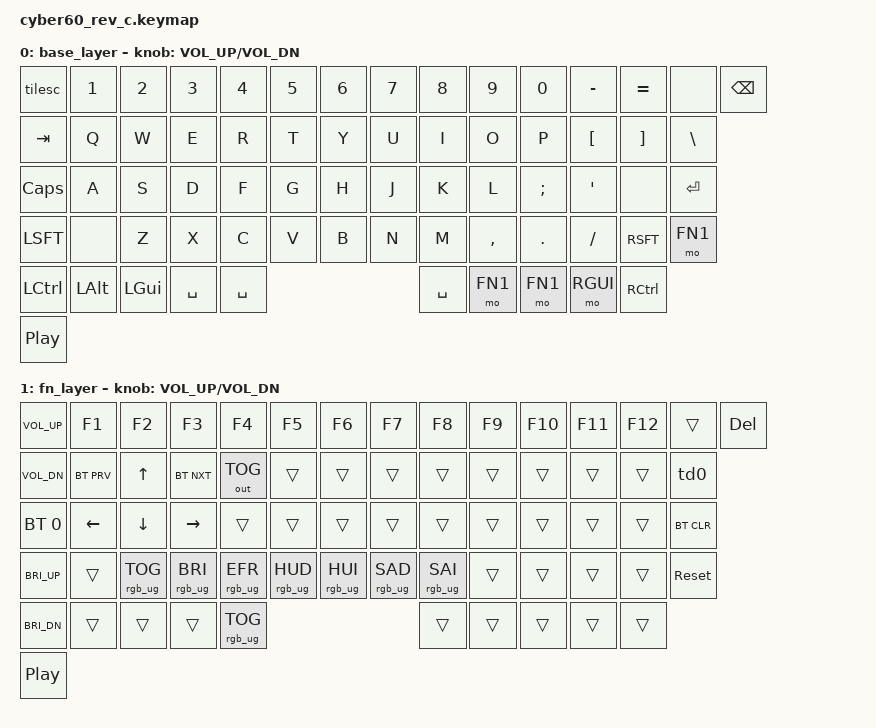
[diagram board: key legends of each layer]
#include <behaviors.dtsi>
#include <dt-bindings/zmk/bt.h>
#include <dt-bindings/zmk/keys.h>
#include <dt-bindings/zmk/rgb.h>
#include <dt-bindings/zmk/outputs.h>

#define FN1 1



/ {
    behaviors {
        tilesc: grave_escape {
            compatible = "zmk,behavior-mod-morph";
            #binding-cells = <0>;
            bindings = <&kp ESC>, <&kp TILDE>;
            mods = <(MOD_LSFT|MOD_RSFT)>;
        };
        td0: tap_dance_0 {
            compatible = "zmk,behavior-tap-dance";
            #binding-cells = <0>;
            tapping-term-ms = <200>;
            bindings = <&trans>, <&bootloader>;
        };
    };
};

/ {
    keymap {
        compatible = "zmk,keymap";

        base_layer {
            // Base layer
		// ------------------------------------------------------------------------------------------
		// | Esc/~ |  1  |  2  |  3  |  4  |  5  |  6  |  7  |  8  |  9  |  0  |  -  |  =  |  BKSP  |
		// |  TAB |  Q  |  W  |  E  |  R  |  T  |  Y  |  U  |  I  |  O  |  P  |  [  |  ]  |   "|"   |
		// | CAPS  |  A  |  S  |  D  |  F  |  G  |  H  |  J  |  K  |  L  |  ;  |  '  |none| ENTER   |
		// | SHIFT |none| Z |  X  |  C  |  V  |  B  |  N  |  M  |  ,  |  .  |  /  |    Shift   | FN |
		// |  LCTL  |  LALT  |  LWIN  | SPACE  | SPACE |    SPACE   |  FN   |  FN  |  RGUI  | RCTRL |
		// | Rotary | (<-- Rotary switch) ----------------------------------------------------------- 
	bindings = <
	&tilesc		 &kp NUM_1 	&kp NUM_2	&kp NUM_3 	&kp NUM_4 &kp NUM_5 &kp NUM_6 	&kp NUM_7 	&kp NUM_8 &kp NUM_9	&kp NUM_0	&kp MINUS	&kp EQL  	&none	&kp BKSP
	&kp TAB		 &kp   Q   	&kp   W   	&kp   E   	&kp   R   &kp   T   &kp   Y   	&kp   U   	&kp   I   &kp   O   &kp   P   	&kp LBKT 	&kp RBKT	&kp BSLH
	&kp CLCK 	 &kp   A   	&kp   S   	&kp   D   	&kp   F   &kp   G   &kp   H   	&kp   J   	&kp   K   &kp   L   &kp  SCLN  	&kp  QUOT   &none		&kp RET
	&kp LSFT 	 &none		&kp   Z   	&kp   X   	&kp   C   &kp   V   &kp   B   	&kp   N   	&kp   M   &kp  CMMA &kp  DOT  	&kp  FSLH	&kp RSFT 	&mo FN1
	&kp LCTL 	 &kp LALT   &kp   LGUI				&kp SPC			&kp SPC			&kp  SPC  			 &mo FN1 &mo FN1 	&mo RGUI	&kp RCTL		
	&kp C_PP
			>;
            sensor-bindings = <&inc_dec_kp C_VOL_UP C_VOL_DN>;
        };

        fn_layer {
	    // Function layer
	    // ------------------------------------------------------------------------------------------
	    // |  V+  |  F1 |  F2 |  F3 |  F4 |  F5 |  F6 |  F7 |  F8 |  F9 | F10 | F11 | F12 |INS | DEL|
	    // |  V-  |BTPRV|  UP |BTNXT|TOGG |TRNS |TRNS | TRNS| MB1 | TRNS | MB2 | TRNS | TRNS | flash|
            // | BT0  |LEFT |DOWN |RIGHT|TRNS |TRNS |TRNS | TRNS| TRNS |TRNS| TRNS |TRNS | TRNS | BTClear  |
            // | Bri+ |TRNS|TRNS|TRNS|TRNS | TRNS| TRNS | TRNS |  TRNS| TRNS | TRNS| TRNS |   TRNS   |TRNS|
            // |  Bri- | TRNS | TRNS |      TRNS      | TRNS |     TRNS     |  TRNS |  TRNS | TRNS | TRNS |
            // | Rotary | (<-- Rotary switch) ----------------------------------------------------------- 

            bindings = <
&kp C_VOL_UP  &kp F1    &kp F2           &kp F3           &kp F4           &kp F5           &kp F6           &kp F7           &kp F8           &kp F9          &kp F10   &kp F11  &kp F12  &trans      &kp DEL
&kp C_VOL_DN  &bt BT_PRV    &kp UP       &bt BT_NXT       &out OUT_TOG     &trans           &trans           &trans           &trans           &trans          &trans    &trans   &trans   &td0
&bt BT_SEL 0  &kp LEFT  &kp DOWN         &kp RIGHT        &trans           &trans           &trans           &trans           &trans           &trans          &trans    &trans   &trans   &bt BT_CLR
&kp C_BRI_UP  &trans    &rgb_ug RGB_TOG  &rgb_ug RGB_BRI  &rgb_ug RGB_EFR  &rgb_ug RGB_HUD  &rgb_ug RGB_HUI  &rgb_ug RGB_SAD  &rgb_ug RGB_SAI  &trans          &trans    &trans   &trans   &sys_reset
&kp C_BRI_DN  &trans    &trans           &trans           &rgb_ug RGB_TOG  &trans           &trans           &trans           &trans           &trans
&kp C_PP
            >;

            sensor-bindings = <&inc_dec_kp C_VOL_UP C_VOL_DN>;
        };
    };
};
